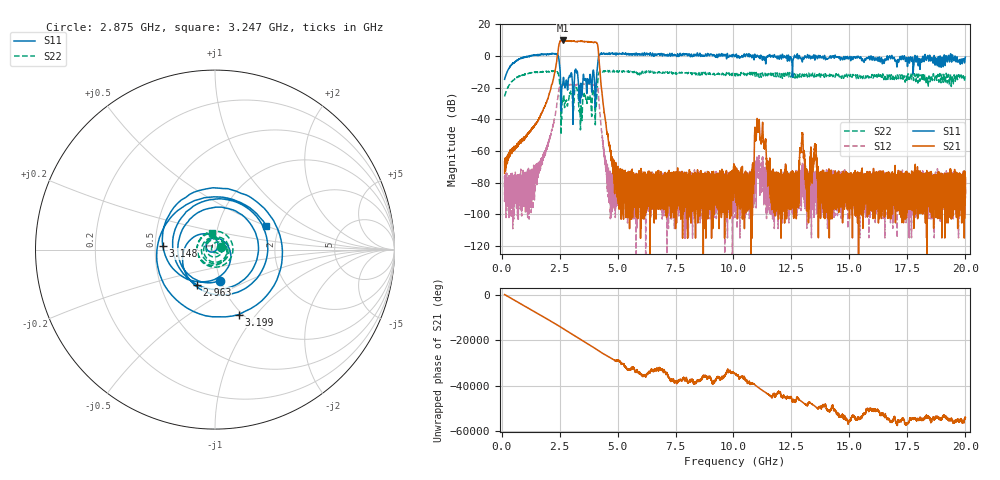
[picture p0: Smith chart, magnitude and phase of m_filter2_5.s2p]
!Created with skrf (http://scikit-rf.org).
# GHz S RI R 50.0
!freq ReS11 ImS11 ReS21 ImS21 ReS12 ImS12 ReS22 ImS22
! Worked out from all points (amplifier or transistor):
!   20013 points, 130 MHz to 20 GHz, reference 50 ohm
!   highest |S21| = 9.8 dB at 2.637 GHz (marker M1)
!   |S21| within 3 dB of that: 2.47 GHz to 4.145 GHz (1.675 GHz wide, 50.6 % of centre)
!   unconditionally stable (mu >= 1): start of sweep to 1.198 GHz; 2.462 GHz to 4.181 GHz; 14.4 GHz to 16.62 GHz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
!   at 3.465 GHz: K = 1.50, MAG = 9.3 dB, |S12| = -17.7 dB
!   at 10.14 GHz: K = -5914497.15, MSG = 5.1 dB, |S12| = -84.8 dB
!   at 20 GHz: K = 8558963.98, MAG = -76.8 dB, |S12| = -76.4 dB
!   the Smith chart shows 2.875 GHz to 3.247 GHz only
!   S11 on the Smith chart (normalised r, x): 2.875 GHz: 0.99, -0.35; 2.963 GHz: 0.76, -0.31; 3.148 GHz: 0.55, +0.02; 3.199 GHz: 0.96, -0.82; 3.247 GHz: 1.70, +0.50
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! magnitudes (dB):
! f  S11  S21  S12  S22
! 130 MHz  -14.7  -74.3  -82.9  -25.6
! 1.495 GHz  0.5  -42.6  -71.9  -10.3
! 2.372 GHz  0.9  -3.8  -32.0  -10.1
! 2.637 GHz  -17.8  9.8  -18.3  -28.6
! 2.875 GHz  -15.2  9.5  -18.1  -28.2
! 2.963 GHz  -13.1  9.5  -18.1  -24.1
! 3.148 GHz  -10.7  9.3  -18.1  -22.1
! 3.199 GHz  -8.3  9.0  -18.2  -20.0
! 3.247 GHz  -10.0  9.1  -18.0  -20.4
! 3.442 GHz  -25.1  9.3  -17.7  -34.7
! 4.102 GHz  -11.6  8.3  -18.1  -25.1
! 4.544 GHz  1.7  -48.1  -79.2  -9.8
! 4.961 GHz  1.7  -78.7  -84.2  -9.8
! 6.754 GHz  1.4  -84.7  -82.9  -10.3
! 10.06 GHz  -0.3  -72.6  -102.0  -11.1
! 10.78 GHz  -0.5  -80.2  -77.7  -10.8
! 11.02 GHz  0.5  -40.1  -63.6  -13.3
! 11.69 GHz  0.0  -89.0  -81.7  -11.3
! 12.95 GHz  -2.4  -50.7  -70.7  -11.9
! 13.38 GHz  -0.6  -69.5  -74.9  -12.6
! 16.69 GHz  -0.7  -87.3  -84.8  -13.0
! 20 GHz  -0.7  -85.3  -76.4  -12.8
